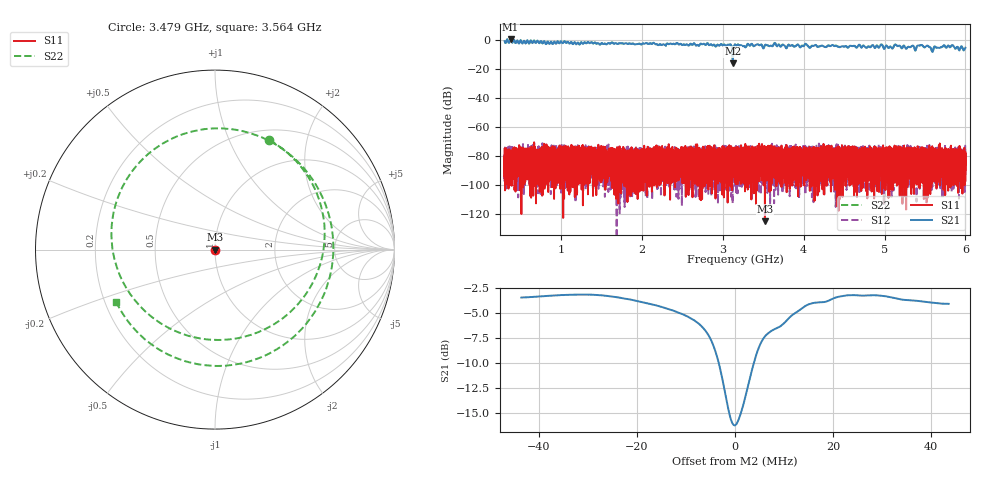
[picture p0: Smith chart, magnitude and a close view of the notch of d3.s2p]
!Agilent Technologies,N5230C,SG49000117,A.08.50.07
!Agilent N5230C: A.08.50.07
!Date: Sunday, March 17, 2024 01:29:13
!Correction: S11(Off)
!S21(Off)
!S12(Off)
!S22(Off)
!S2P File: Measurements: S11, S21, S12, S22:
# Hz S  RI  R 50
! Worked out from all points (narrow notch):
!   20001 points, 300 MHz to 6 GHz, reference 50 ohm
!   highest |S21| = 0.46 dB at 373.5 MHz (marker M1); lowest = -16.2 dB at 3.123 GHz (marker M2)
!   notch at M2: 12.7 dB deep, 7.28 MHz wide at half that depth
!   lowest |S11| = -125.1 dB at 3.52 GHz (marker M3), VSWR 1.00, Z = 50 + j3.92e-05 ohm
!   |S11| at or under -10 dB: start of sweep to end of sweep
!   |S22| runs from -16.2 to 0.5 dB; largest |S21 - S12| = 1.1
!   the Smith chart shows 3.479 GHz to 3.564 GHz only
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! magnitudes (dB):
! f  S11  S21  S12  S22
! 300 MHz  -93.9  -0.9  -78.5  -0.9
! 373.5 MHz  -82.2  0.5  -83.4  0.5
! 1.25 GHz  -86.3  -1.7  -82.2  -1.7
! 2.2 GHz  -83.4  -3.7  -90.8  -3.7
! 3.076 GHz  -81.8  -3.5  -87.0  -3.5
! 3.123 GHz  -92.7  -16.2  -84.6  -16.2
! 3.15 GHz  -86.8  -3.2  -101.9  -3.2
! 3.17 GHz  -84.9  -4.0  -90.6  -3.9
! 3.52 GHz  -125.1  -3.7  -78.8  -3.6
! 3.641 GHz  -81.8  -2.2  -89.1  -2.1
! 3.778 GHz  -81.7  -5.4  -77.6  -5.3
! 4.026 GHz  -78.8  -2.7  -74.6  -2.6
! 4.1 GHz  -77.3  -4.2  -76.3  -4.1
! 5.05 GHz  -81.9  -5.7  -80.4  -5.6
! 5.147 GHz  -78.2  -3.8  -74.2  -3.8
! 5.383 GHz  -83.8  -7.3  -87.6  -7.3
! 5.441 GHz  -84.2  -3.8  -75.1  -3.8
! 5.542 GHz  -83.7  -4.4  -81.7  -4.4
! 5.582 GHz  -81.3  -7.3  -89.2  -7.3
! 5.635 GHz  -76.2  -5.2  -84.3  -5.3
! 5.818 GHz  -88.4  -4.8  -75.7  -4.8
! 6 GHz  -78.5  -5.5  -85.6  -5.5
